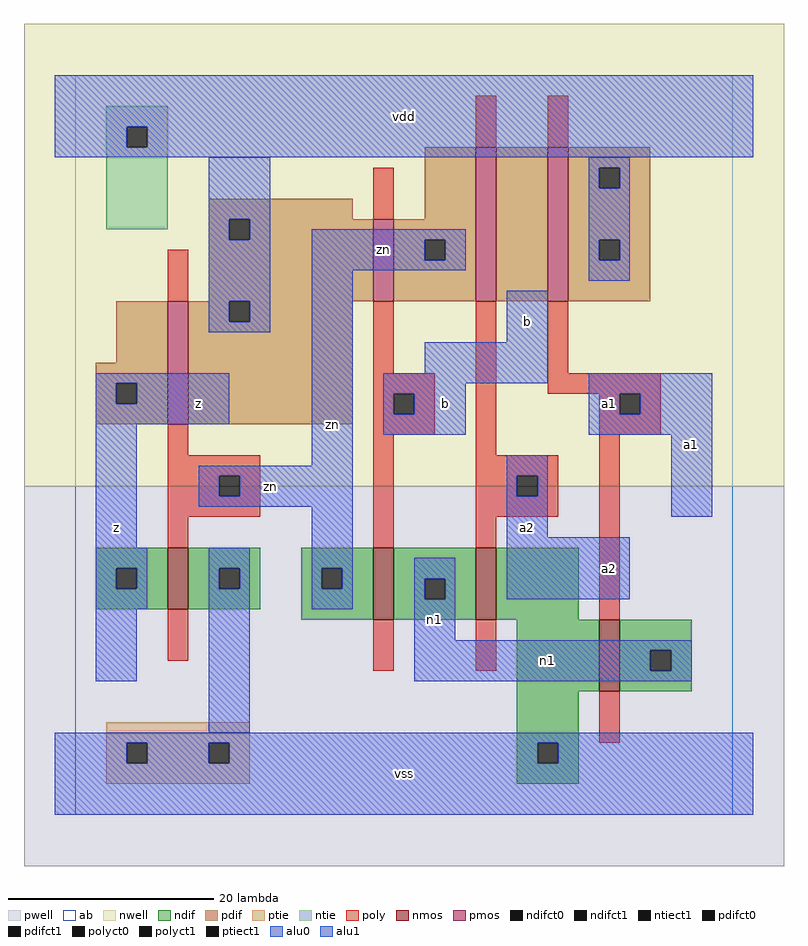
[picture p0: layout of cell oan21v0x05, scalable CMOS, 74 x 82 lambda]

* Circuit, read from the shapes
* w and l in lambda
.subckt oan21v0x05 a1 a2 b n1 vdd vss z zn
M1 vss zn z vss nfet w=6 l=2
M2 n1 b zn vss nfet w=7 l=2
M3 vss a2 n1 vss nfet w=7 l=2
M4 n1 a1 vss vss nfet w=7 l=2
M5 vdd zn z vdd pfet w=12 l=2
M6 zn b vdd vdd pfet w=8 l=2
M7 n2 a2 zn vdd pfet w=15 l=2
M8 vdd a1 n2 vdd pfet w=15 l=2
.ends

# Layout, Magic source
magic
tech scmos
<< ab >>
rect 0 0 64 72
<< nwell >>
rect -5 32 69 77
<< pwell >>
rect -5 -5 69 32
<< poly >>
rect 39 65 41 70
rect 46 65 48 70
rect 29 58 31 63
rect 9 50 11 55
rect 29 43 31 50
rect 29 41 35 43
rect 29 39 31 41
rect 33 39 35 41
rect 9 35 11 38
rect 29 37 35 39
rect 9 33 18 35
rect 9 31 14 33
rect 16 31 18 33
rect 9 29 18 31
rect 9 26 11 29
rect 29 26 31 37
rect 39 35 41 50
rect 46 43 48 50
rect 46 41 57 43
rect 51 39 53 41
rect 55 39 57 41
rect 51 37 57 39
rect 39 33 47 35
rect 39 31 43 33
rect 45 31 47 33
rect 39 29 47 31
rect 39 26 41 29
rect 9 15 11 20
rect 51 19 53 37
rect 29 14 31 19
rect 39 14 41 19
rect 51 7 53 12
<< ndif >>
rect 2 24 9 26
rect 2 22 4 24
rect 6 22 9 24
rect 2 20 9 22
rect 11 24 18 26
rect 11 22 14 24
rect 16 22 18 24
rect 11 20 18 22
rect 22 24 29 26
rect 22 22 24 24
rect 26 22 29 24
rect 22 19 29 22
rect 31 23 39 26
rect 31 21 34 23
rect 36 21 39 23
rect 31 19 39 21
rect 41 19 49 26
rect 43 12 51 19
rect 53 16 60 19
rect 53 14 56 16
rect 58 14 60 16
rect 53 12 60 14
rect 43 7 49 12
rect 43 5 45 7
rect 47 5 49 7
rect 43 3 49 5
<< pdif >>
rect 13 58 27 60
rect 34 58 39 65
rect 13 56 15 58
rect 17 56 29 58
rect 13 50 29 56
rect 31 56 39 58
rect 31 54 34 56
rect 36 54 39 56
rect 31 50 39 54
rect 41 50 46 65
rect 48 63 56 65
rect 48 61 51 63
rect 53 61 56 63
rect 48 56 56 61
rect 48 54 51 56
rect 53 54 56 56
rect 48 50 56 54
rect 4 44 9 50
rect 2 42 9 44
rect 2 40 4 42
rect 6 40 9 42
rect 2 38 9 40
rect 11 48 15 50
rect 17 48 27 50
rect 11 38 27 48
<< alu1 >>
rect -2 67 66 72
rect -2 65 5 67
rect 7 65 66 67
rect -2 64 66 65
rect 2 42 15 43
rect 2 40 4 42
rect 6 40 15 42
rect 2 38 15 40
rect 2 26 6 38
rect 42 46 46 51
rect 34 43 46 46
rect 30 42 46 43
rect 30 41 38 42
rect 30 39 31 41
rect 33 39 38 41
rect 30 37 38 39
rect 50 41 62 43
rect 50 39 53 41
rect 55 39 62 41
rect 50 37 62 39
rect 2 24 7 26
rect 2 22 4 24
rect 6 22 7 24
rect 2 20 7 22
rect 2 13 6 20
rect 42 33 46 35
rect 42 31 43 33
rect 45 31 46 33
rect 42 27 46 31
rect 58 29 62 37
rect 42 21 54 27
rect -2 7 66 8
rect -2 5 5 7
rect 7 5 13 7
rect 15 5 45 7
rect 47 5 66 7
rect -2 0 66 5
<< ptie >>
rect 3 7 17 9
rect 3 5 5 7
rect 7 5 13 7
rect 15 5 17 7
rect 3 3 17 5
<< ntie >>
rect 3 67 9 69
rect 3 65 5 67
rect 7 65 9 67
rect 3 57 9 65
<< nmos >>
rect 9 20 11 26
rect 29 19 31 26
rect 39 19 41 26
rect 51 12 53 19
<< pmos >>
rect 29 50 31 58
rect 39 50 41 65
rect 46 50 48 65
rect 9 38 11 50
<< polyct0 >>
rect 14 31 16 33
<< polyct1 >>
rect 31 39 33 41
rect 53 39 55 41
rect 43 31 45 33
<< ndifct0 >>
rect 14 22 16 24
rect 24 22 26 24
rect 34 21 36 23
rect 56 14 58 16
<< ndifct1 >>
rect 4 22 6 24
rect 45 5 47 7
<< ntiect1 >>
rect 5 65 7 67
<< ptiect1 >>
rect 5 5 7 7
rect 13 5 15 7
<< pdifct0 >>
rect 15 56 17 58
rect 34 54 36 56
rect 51 61 53 63
rect 51 54 53 56
rect 15 48 17 50
<< pdifct1 >>
rect 4 40 6 42
<< alu0 >>
rect 13 58 19 64
rect 13 56 15 58
rect 17 56 19 58
rect 50 63 54 64
rect 50 61 51 63
rect 53 61 54 63
rect 13 50 19 56
rect 13 48 15 50
rect 17 48 19 50
rect 13 47 19 48
rect 23 56 38 57
rect 23 54 34 56
rect 36 54 38 56
rect 23 53 38 54
rect 50 56 54 61
rect 50 54 51 56
rect 53 54 54 56
rect 23 34 27 53
rect 50 52 54 54
rect 12 33 27 34
rect 12 31 14 33
rect 16 31 27 33
rect 12 30 27 31
rect 13 24 17 26
rect 13 22 14 24
rect 16 22 17 24
rect 13 8 17 22
rect 23 24 27 30
rect 23 22 24 24
rect 26 22 27 24
rect 23 20 27 22
rect 33 23 37 25
rect 33 21 34 23
rect 36 21 37 23
rect 33 17 37 21
rect 33 16 60 17
rect 33 14 56 16
rect 58 14 60 16
rect 33 13 60 14
<< labels >>
rlabel alu0 35 19 35 19 6 n1
rlabel alu0 19 32 19 32 6 zn
rlabel alu0 25 38 25 38 6 zn
rlabel alu0 30 55 30 55 6 zn
rlabel alu0 46 15 46 15 6 n1
rlabel alu1 4 28 4 28 6 z
rlabel alu1 12 40 12 40 6 z
rlabel alu1 32 4 32 4 6 vss
rlabel alu1 44 28 44 28 6 a2
rlabel alu1 36 40 36 40 6 b
rlabel alu1 44 48 44 48 6 b
rlabel alu1 32 68 32 68 6 vdd
rlabel alu1 52 24 52 24 6 a2
rlabel alu1 60 36 60 36 6 a1
rlabel alu1 52 40 52 40 6 a1
<< end >>
